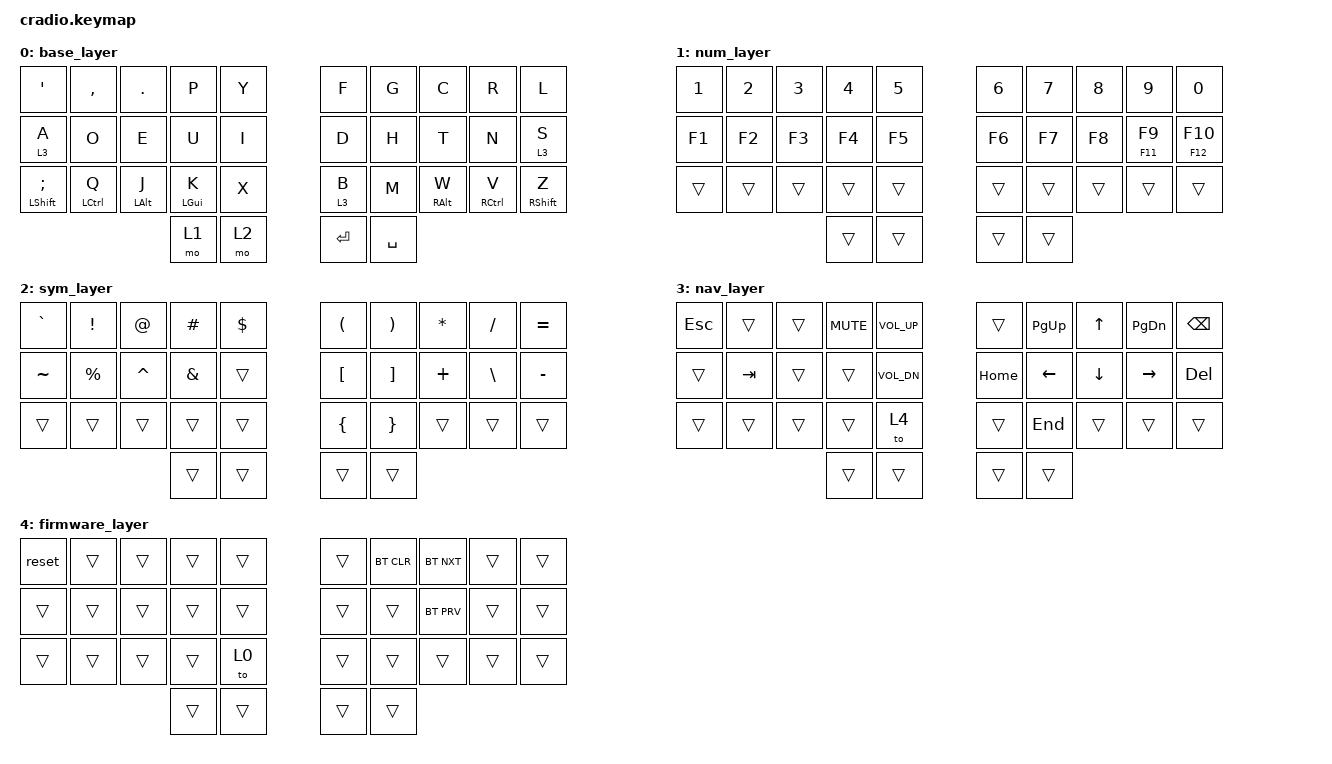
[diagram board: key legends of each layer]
/*
 * Copyright (c) 2020 The ZMK Contributors
 *
 * SPDX-License-Identifier: MIT
 */

#include <behaviors.dtsi>
#include <dt-bindings/zmk/keys.h>
#include <dt-bindings/zmk/bt.h>

&mt {
  flavor = "tap-preferred";
  tapping_term_ms = <200>;
};

/ { 
  chosen {
    zmk,battery = &vbatt;
  };

  vbatt: vbatt {
    compatible = "zmk,battery-nrf-vddh";
    label = "VBATT";
  };

  keymap {
    compatible = "zmk,keymap";

    base_layer {
      bindings = <
        // ╭─────────────┬─────────────┬─────────────┬─────────────┬─────────────╮   ╭─────────────┬─────────────┬─────────────┬─────────────┬─────────────╮
             &kp SQT       &kp COMMA     &kp DOT       &kp P         &kp Y             &kp F         &kp G         &kp C         &kp R         &kp L 
        // ├─────────────┼─────────────┼─────────────┼─────────────┼─────────────┤   ├─────────────┼─────────────┼─────────────┼─────────────┼─────────────┤
             &lt 3 A       &kp O         &kp E         &kp U         &kp I             &kp D         &kp H         &kp T         &kp N         &lt 3 S
        // ├─────────────┼─────────────┼─────────────┼─────────────┼─────────────┤   ├─────────────┼─────────────┼─────────────┼─────────────┼─────────────┤
          &mt LSHFT SEMI   &mt LCTRL Q   &mt LALT J    &mt LGUI K    &kp X             &lt 3 B       &kp M         &mt RALT W    &mt RCTRL V   &mt RSHFT Z
        // ╰─────────────┴─────────────┴─────────────┼─────────────┼─────────────┤   ├─────────────┼─────────────┼─────────────┴─────────────┴─────────────╯
                                                       &mo 1         &mo 2             &kp ENTER     &kp SPACE
        //                                           ╰─────────────┴─────────────╯   ╰─────────────┴─────────────╯
      >;
    };

    num_layer {
      bindings = <
        // ╭─────────────┬─────────────┬─────────────┬─────────────┬─────────────╮   ╭─────────────┬─────────────┬─────────────┬─────────────┬─────────────╮
             &kp N1        &kp N2        &kp N3        &kp N4        &kp N5            &kp N6        &kp N7        &kp N8        &kp N9        &kp N0
        // ├─────────────┼─────────────┼─────────────┼─────────────┼─────────────┤   ├─────────────┼─────────────┼─────────────┼─────────────┼─────────────┤
             &kp F1        &kp F2        &kp F3        &kp F4        &kp F5            &kp F6        &kp F7        &kp F8        &mt F11 F9    &mt F12 F10
        // ├─────────────┼─────────────┼─────────────┼─────────────┼─────────────┤   ├─────────────┼─────────────┼─────────────┼─────────────┼─────────────┤
             &trans        &trans        &trans        &trans        &trans            &trans        &trans        &trans        &trans        &trans
        // ╰─────────────┴─────────────┴─────────────┼─────────────┼─────────────┤   ├─────────────┼─────────────┼─────────────┴─────────────┴─────────────╯
                                                       &trans        &trans            &trans        &trans
        //                                           ╰─────────────┴─────────────╯   ╰─────────────┴─────────────╯
      >;
    };

    sym_layer {
      bindings = <
        // ╭─────────────┬─────────────┬─────────────┬─────────────┬─────────────╮   ╭─────────────┬─────────────┬─────────────┬─────────────┬─────────────╮
             &kp GRAVE     &kp EXCL      &kp AT        &kp HASH      &kp DLLR          &kp LPAR      &kp RPAR      &kp STAR      &kp FSLH      &kp EQUAL
        // ├─────────────┼─────────────┼─────────────┼─────────────┼─────────────┤   ├─────────────┼─────────────┼─────────────┼─────────────┼─────────────┤
             &kp TILDE     &kp PRCNT     &kp CARET     &kp AMPS      &trans            &kp LBKT      &kp RBKT      &kp PLUS      &kp BSLH      &kp MINUS
        // ├─────────────┼─────────────┼─────────────┼─────────────┼─────────────┤   ├─────────────┼─────────────┼─────────────┼─────────────┼─────────────┤
             &trans        &trans        &trans        &trans        &trans            &kp LBRC      &kp RBRC      &trans        &trans        &trans
        // ╰─────────────┴─────────────┴─────────────┼─────────────┼─────────────┤   ├─────────────┼─────────────┼─────────────┴─────────────┴─────────────╯
                                                       &trans        &trans            &trans        &trans
        //                                           ╰─────────────┴─────────────╯   ╰─────────────┴─────────────╯
      >;
    };

    nav_layer {
      bindings = <
        // ╭─────────────┬─────────────┬─────────────┬─────────────┬─────────────╮   ╭─────────────┬─────────────┬─────────────┬─────────────┬─────────────╮
             &kp ESC       &trans        &trans        &kp K_MUTE    &kp K_VOL_UP      &trans        &kp PG_UP     &kp UP        &kp PG_DN     &kp BSPC 
        // ├─────────────┼─────────────┼─────────────┼─────────────┼─────────────┤   ├─────────────┼─────────────┼─────────────┼─────────────┼─────────────┤
             &trans        &kp TAB       &trans        &trans        &kp K_VOL_DN      &kp HOME      &kp LEFT      &kp DOWN      &kp RIGHT     &kp DEL
        // ├─────────────┼─────────────┼─────────────┼─────────────┼─────────────┤   ├─────────────┼─────────────┼─────────────┼─────────────┼─────────────┤
             &trans        &trans        &trans        &trans        &to 4             &trans        &kp END       &trans        &trans        &trans
        // ╰─────────────┴─────────────┴─────────────┼─────────────┼─────────────┤   ├─────────────┼─────────────┼─────────────┴─────────────┴─────────────╯
                                                       &trans        &trans            &trans        &trans
        //                                           ╰─────────────┴─────────────╯   ╰─────────────┴─────────────╯
      >;
    };

    firmware_layer {
      bindings = <
        // ╭─────────────┬─────────────┬─────────────┬─────────────┬─────────────╮   ╭─────────────┬─────────────┬─────────────┬─────────────┬─────────────╮
             &reset        &trans        &trans        &trans        &trans            &trans        &bt BT_CLR    &bt BT_NXT    &trans        &trans 
        // ├─────────────┼─────────────┼─────────────┼─────────────┼─────────────┤   ├─────────────┼─────────────┼─────────────┼─────────────┼─────────────┤
             &trans        &trans        &trans        &trans        &trans            &trans        &trans        &bt BT_PRV    &trans        &trans
        // ├─────────────┼─────────────┼─────────────┼─────────────┼─────────────┤   ├─────────────┼─────────────┼─────────────┼─────────────┼─────────────┤
             &trans        &trans        &trans        &trans        &to 0             &trans        &trans        &trans        &trans        &trans
        // ╰─────────────┴─────────────┴─────────────┼─────────────┼─────────────┤   ├─────────────┼─────────────┼─────────────┴─────────────┴─────────────╯
                                                       &trans        &trans            &trans        &trans
        //                                           ╰─────────────┴─────────────╯   ╰─────────────┴─────────────╯
      >;
    };
  };
};
